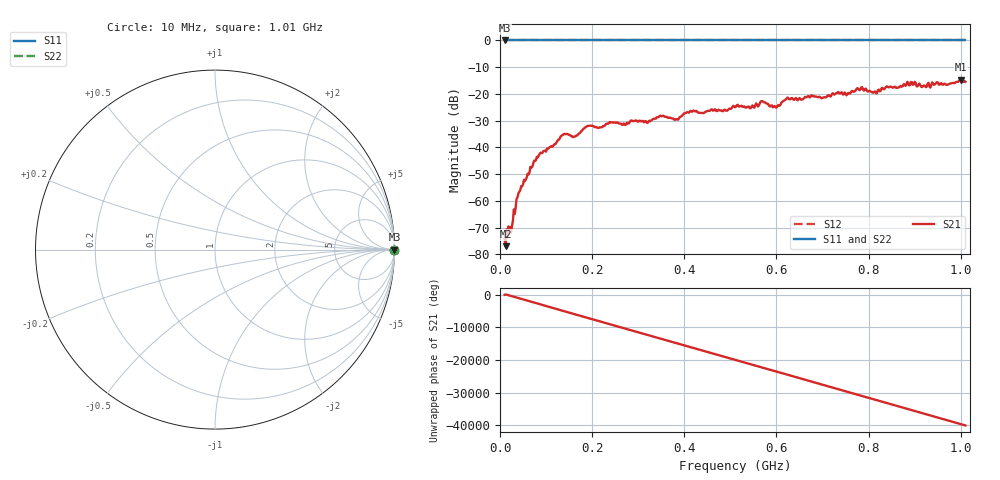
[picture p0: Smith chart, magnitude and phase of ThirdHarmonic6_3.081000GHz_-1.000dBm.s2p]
! 8/17/2025 9:02:08 AM
! C:\ANRITSUVNA\TEMP\TEMP.S2P
! CHANNEL.1
! TR.MEASUREMENT
! RAW.DATA
! RF.CORRECTION.OFF
! AVERAGING.OFF
! IF.BANDWIDTH: 5KHZ
! SWEEPTYPE:  FREQ.SWEEP(Linear)
! Reference Plane Port Info
! PORT:  PORT1  PORT2
! DISTANCE:  0  m  0  m
! TIME:  0  s  0  s
! PHASE.OFFSET:  0  deg.  0  deg.
! LOSS:  0  dB  0  dB
! REF.LOSS:  0  dB  0  dB
! REF.FREQ:  0  Hz  0  Hz
! Power Info
! POWER:  -20  dBm  -20  dBm
! EFF.POWER:  -20  dBm  -20  dBm
! SOURCE.ATTEN:  0  dB  0  dB
! TEST.ATTEN:  0  dB  0  dB
# GHZ S RI R 50.0
! FREQ.GHZ  S11RE  S11IM  S21RE  S21IM  S12RE  S12IM  S22RE  S22IM
!; PortSelection: Port_12
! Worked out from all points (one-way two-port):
!   501 points, 10 MHz to 1.01 GHz, reference 50 ohm
!   highest |S21| = -14.68 dB at 1 GHz (marker M1); lowest = -76.9 dB at 12 MHz (marker M2)
!   lowest |S11| = 0.0 dB at 10 MHz (marker M3)
!   |S11| at or under -10 dB: nowhere
!   |S22| runs from 0.0 to 0.0 dB; largest |S21 - S12| = 1.2
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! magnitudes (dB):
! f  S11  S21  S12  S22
! 10 MHz  0.0  -74.3  0.0  0.0
! 12 MHz  0.0  -76.9  0.0  0.0
! 28 MHz  0.0  -67.5  0.0  0.0
! 42 MHz  0.0  -56.6  0.0  0.0
! 76 MHz  0.0  -45.1  0.0  0.0
! 136 MHz  0.0  -35.4  0.0  0.0
! 162 MHz  0.0  -36.0  0.0  0.0
! 178 MHz  0.0  -33.7  0.0  0.0
! 344 MHz  0.0  -28.7  0.0  0.0
! 382 MHz  0.0  -29.4  0.0  0.0
! 416 MHz  0.0  -26.6  0.0  0.0
! 510 MHz  0.0  -25.0  0.0  0.0
! 548 MHz  0.0  -24.3  0.0  0.0
! 570 MHz  0.0  -22.7  0.0  0.0
! 596 MHz  0.0  -24.5  0.0  0.0
! 622 MHz  0.0  -21.7  0.0  0.0
! 678 MHz  0.0  -20.6  0.0  0.0
! 782 MHz  0.0  -18.4  0.0  0.0
! 814 MHz  0.0  -19.1  0.0  0.0
! 844 MHz  0.0  -17.5  0.0  0.0
! 1 GHz  0.0  -14.7  0.0  0.0
! 1.01 GHz  0.0  -15.4  0.0  0.0
